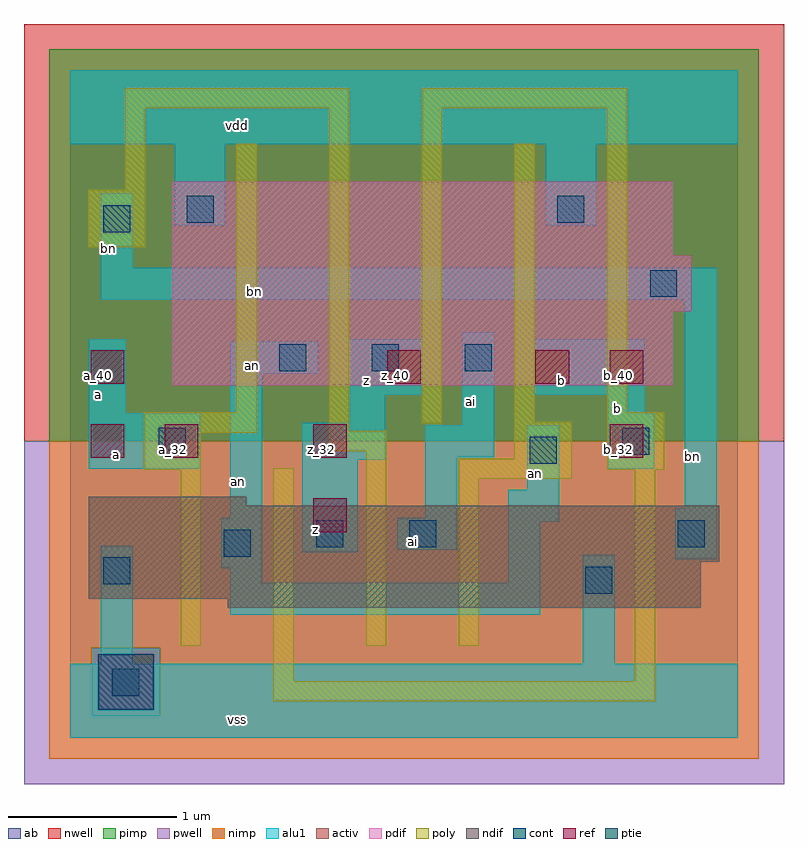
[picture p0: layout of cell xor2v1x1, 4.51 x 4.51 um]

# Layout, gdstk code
import gdstk
lib = gdstk.Library(unit=1e-6, precision=2.5e-09)
def R(c, l, rs):  # rectangles x0, y0, x1, y1
    for r in rs: c.add(gdstk.rectangle(r[:2], r[2:], *l))
def A(c, l, x, y, w, h, nx, ny, dx, dy):  # array of equal rectangles
    R(c, l, [(x+i*dx, y+j*dy, x+i*dx+w, y+j*dy+h) for i in range(nx) for j in range(ny)])
ndif = (3, 0)
pdif = (4, 0)
ptie = (6, 0)
ref = (24, 0)
cont = (25, 0)
pwell = (41, 0)
nwell = (42, 0)
activ = (43, 0)
pimp = (44, 0)
nimp = (45, 0)
poly = (46, 0)
alu1 = (49, 0)
ab = (63, 0)

xor2v1x1 = lib.new_cell('xor2v1x1')
R(xor2v1x1, ndif, [(0.935,0.77,3.74,0.825), (0.11,0.825,3.74,1.045), (0.11,1.045,3.85,1.375), (0.11,1.375,1.045,1.43)])
R(xor2v1x1, pdif, [(0.605,2.09,3.575,2.53), (0.605,2.53,3.685,2.86), (0.605,2.86,3.575,3.3)])
R(xor2v1x1, ptie, [(0.165,0.165,0.495,0.495)])
R(xor2v1x1, ref, [(1.44,1.22,1.64,1.42), (0.12,1.66,0.32,1.86), (0.56,1.66,0.76,1.86), (1.44,1.66,1.64,1.86), (3.2,1.66,3.4,1.86), (0.12,2.1,0.32,2.3), (1.88,2.1,2.08,2.3), (2.76,2.1,2.96,2.3), (3.2,2.1,3.4,2.3)])
A(xor2v1x1, cont, 1.24, 2.175, 0.16, 0.16, 3, 1, 0.55, 0)
R(xor2v1x1, cont, [(0.25,0.25,0.41,0.41), (3.055,0.855,3.215,1.015), (0.195,0.91,0.355,1.07), (0.91,1.075,1.07,1.235), (1.46,1.13,1.62,1.29), (2.01,1.13,2.17,1.29), (3.605,1.13,3.765,1.29), (2.725,1.625,2.885,1.785), (0.525,1.68,0.685,1.84), (3.275,1.68,3.435,1.84), (3.44,2.615,3.6,2.775), (0.195,3,0.355,3.16), (0.69,3.055,0.85,3.215), (2.89,3.055,3.05,3.215)])
R(xor2v1x1, pwell, [(-0.275,-0.275,4.235,1.76)])
R(xor2v1x1, nwell, [(-0.275,1.76,4.235,4.235)])
R(xor2v1x1, activ, [(0.165,0.165,0.495,0.495), (0.935,0.77,3.74,0.825), (0.11,0.825,3.74,1.045), (0.11,1.045,3.85,1.375), (0.11,1.375,1.045,1.43), (0.605,2.09,3.575,2.53), (0.605,2.53,3.685,2.86), (0.605,2.86,3.575,3.3)])
R(xor2v1x1, pimp, [(0.125,0.125,0.535,0.535), (-0.125,1.76,4.085,4.085)])
R(xor2v1x1, nimp, [(-0.125,-0.125,4.085,0.125), (-0.125,0.125,0.125,0.535), (0.535,0.125,4.085,0.535), (-0.125,0.535,4.085,1.76)])
R(xor2v1x1, poly, [(1.205,0.215,3.47,0.335), (1.205,0.335,1.325,1.6), (3.35,0.335,3.47,1.59), (0.655,0.545,0.775,1.59), (1.755,0.545,1.875,1.7), (2.305,0.545,2.425,1.535), (2.305,1.535,2.975,1.655), (0.435,1.59,0.775,1.81), (3.185,1.59,3.525,1.93), (2.635,1.655,2.975,1.875), (1.535,1.7,1.875,1.82), (0.435,1.81,1.105,1.93), (1.535,1.82,1.655,3.735), (2.085,1.865,2.205,3.735), (2.635,1.875,2.755,3.525), (0.985,1.93,1.105,3.525), (3.185,1.93,3.305,3.735), (0.105,2.91,0.445,3.25), (0.325,3.25,0.445,3.735), (0.325,3.735,1.655,3.855), (2.085,3.735,3.305,3.855)])
R(xor2v1x1, alu1, [(0,0,3.96,0.44), (0.18,0.44,0.37,1.14), (3.04,0.44,3.23,1.085), (0.95,0.73,2.79,0.92), (0.95,0.92,1.14,1.005), (2.6,0.92,2.79,1.28), (0.895,1.005,1.14,1.305), (3.59,1.06,3.835,1.36), (1.375,1.1,1.705,1.65), (1.94,1.115,2.295,1.305), (2.6,1.28,2.9,1.47), (0.95,1.305,1.14,2.16), (2.105,1.305,2.295,1.665), (3.645,1.36,3.835,2.6), (2.71,1.47,2.9,1.855), (0.11,1.595,0.77,1.925), (3.19,1.595,3.465,1.925), (1.375,1.65,1.87,1.87), (2.105,1.665,2.515,1.855), (2.325,1.855,2.515,2.405), (1.65,1.87,1.87,2.035), (0.11,1.925,0.33,2.365), (3.19,1.925,3.41,2.035), (1.65,2.035,2.09,2.365), (2.75,2.035,3.41,2.365), (0.95,2.16,1.47,2.35), (0.18,2.6,3.835,2.79), (0.18,2.79,0.37,3.23), (0.62,3.04,0.92,3.52), (2.82,3.04,3.12,3.52), (0,3.52,3.96,3.96)])
R(xor2v1x1, ab, [(0,0,3.96,3.96)])
xor2v1x1.add(gdstk.Label('vss', (0.99,0.11), layer=49, texttype=0))
xor2v1x1.add(gdstk.Label('bn', (3.6925,1.67), layer=49, texttype=0))
xor2v1x1.add(gdstk.Label('ai', (2.0275,1.1625), layer=49, texttype=0))
xor2v1x1.add(gdstk.Label('an', (2.7575,1.565), layer=49, texttype=0))
xor2v1x1.add(gdstk.Label('z', (1.4575,1.2375), layer=49, texttype=0))
xor2v1x1.add(gdstk.Label('b', (3.245,1.9525), layer=49, texttype=0))
xor2v1x1.add(gdstk.Label('b', (2.915,2.1175), layer=49, texttype=0))
xor2v1x1.add(gdstk.Label('ai', (2.3725,1.9925), layer=49, texttype=0))
xor2v1x1.add(gdstk.Label('z', (1.76,2.1175), layer=49, texttype=0))
xor2v1x1.add(gdstk.Label('an', (0.9975,1.5175), layer=49, texttype=0))
xor2v1x1.add(gdstk.Label('a', (0.275,1.6775), layer=49, texttype=0))
xor2v1x1.add(gdstk.Label('an', (1.08,2.2075), layer=49, texttype=0))
xor2v1x1.add(gdstk.Label('a', (0.165,2.035), layer=49, texttype=0))
xor2v1x1.add(gdstk.Label('bn', (1.0925,2.6475), layer=49, texttype=0))
xor2v1x1.add(gdstk.Label('bn', (0.2275,2.9), layer=49, texttype=0))
xor2v1x1.add(gdstk.Label('vdd', (0.99,3.63), layer=49, texttype=0))
xor2v1x1.add(gdstk.Label('a_32', (0.61,1.71), layer=24, texttype=0))
xor2v1x1.add(gdstk.Label('z_24', (1.49,1.27), layer=24, texttype=0))
xor2v1x1.add(gdstk.Label('z_32', (1.49,1.71), layer=24, texttype=0))
xor2v1x1.add(gdstk.Label('a_32', (0.17,1.71), layer=24, texttype=0))
xor2v1x1.add(gdstk.Label('a_40', (0.17,2.15), layer=24, texttype=0))
xor2v1x1.add(gdstk.Label('b_40', (2.81,2.15), layer=24, texttype=0))
xor2v1x1.add(gdstk.Label('b_32', (3.25,1.71), layer=24, texttype=0))
xor2v1x1.add(gdstk.Label('b_40', (3.25,2.15), layer=24, texttype=0))
xor2v1x1.add(gdstk.Label('z_40', (1.93,2.15), layer=24, texttype=0))

lib.write_gds('xor2v1x1.gds')
